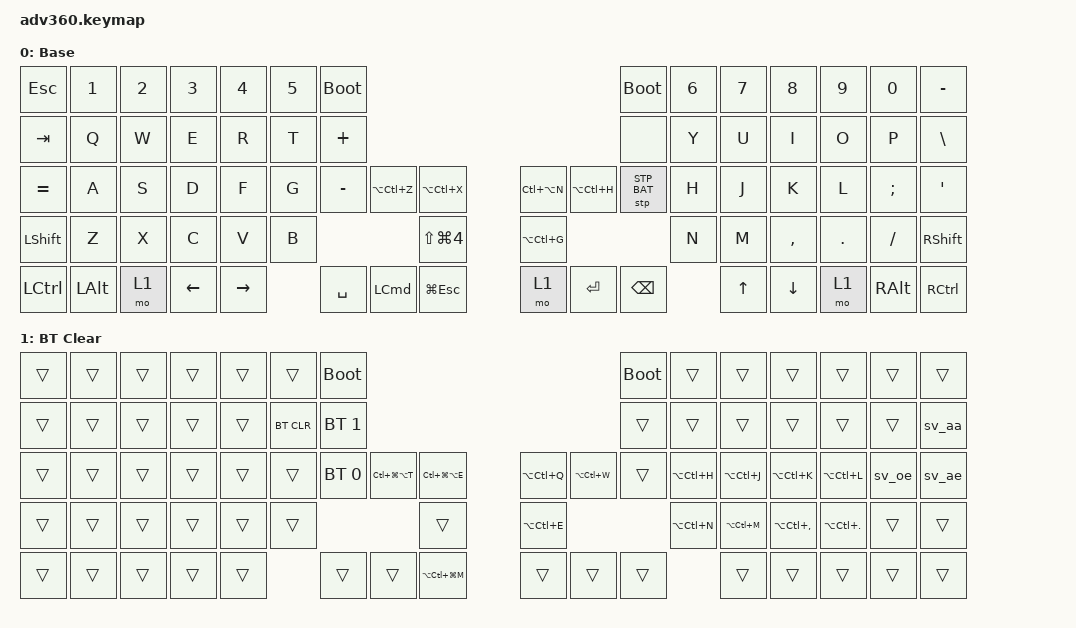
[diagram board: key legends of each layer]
#include <dt-bindings/zmk/stp.h>
#include <behaviors.dtsi>
#include <dt-bindings/zmk/bt.h>
#include <dt-bindings/zmk/keys.h>

/ {
    behaviors {
        #include "macros.dtsi"
      #include "version.dtsi"
    };

    macros {
        sv_aa: sv_aa {
            compatible = "zmk,behavior-macro";
            #binding-cells = <0>;
            bindings = <&kp LA(A)>;
            label = "SV_AA";
        };

        sv_ae: sv_ae {
            compatible = "zmk,behavior-macro";
            #binding-cells = <0>;
            bindings = <&kp LA(U) &kp A>;
            label = "SV_AE";
        };

        sv_oe: sv_oe {
            compatible = "zmk,behavior-macro";
            #binding-cells = <0>;
            bindings = <&kp LA(U) &kp O>;
            label = "SV_OE";
        };

        email: email {
            compatible = "zmk,behavior-macro";
            label = "EMAIL";
            #binding-cells = <0>;
            wait-ms = <0>;
            tap-ms = <0>;
            bindings =
                <&macro_tap_time 0>,
                <&macro_tap>,
                <&kp F>,
                <&macro_tap>,
                <&kp R>,
                <&macro_tap>,
                <&kp E>,
                <&macro_tap>,
                <&kp D>,
                <&macro_tap>,
                <&kp R>,
                <&macro_tap>,
                <&kp I>,
                <&macro_tap>,
                <&kp K>,
                <&macro_tap>,
                <&kp DOT>,
                <&macro_tap>,
                <&kp B>,
                <&macro_tap>,
                <&kp O>,
                <&macro_tap>,
                <&kp R>,
                <&macro_tap>,
                <&kp G>,
                <&macro_tap>,
                <&kp Q>,
                <&macro_tap>,
                <&kp U>,
                <&macro_tap>,
                <&kp I>,
                <&macro_tap>,
                <&kp S>,
                <&macro_tap>,
                <&kp T>,
                <&macro_tap>,
                <&kp AT>,
                <&macro_tap>,
                <&kp G>,
                <&macro_tap>,
                <&kp M>,
                <&macro_tap>,
                <&kp A>,
                <&macro_tap>,
                <&kp I>,
                <&macro_tap>,
                <&kp L>,
                <&macro_tap>,
                <&kp DOT>,
                <&macro_tap>,
                <&kp C>,
                <&macro_tap>,
                <&kp O>,
                <&macro_tap>,
                <&kp M>;
        };
    };

    keymap {
        compatible = "zmk,keymap";

        default_layer {
            display-name = "Base";
            bindings = <
&kp ESCAPE  &kp N1        &kp N2  &kp N3    &kp N4     &kp N5  &bootloader                                                                            &bootloader    &kp N6  &kp N7  &kp N8     &kp N9   &kp N0         &kp MINUS
&kp TAB     &kp Q         &kp W   &kp E     &kp R      &kp T   &kp PLUS                                                                               &none          &kp Y   &kp U   &kp I      &kp O    &kp P          &kp BSLH
&kp EQUAL   &kp A         &kp S   &kp D     &kp F      &kp G   &kp MINUS    &kp LA(LC(Z))     &kp LA(LC(X))             &kp LC(LA(N))  &kp LA(LC(H))  &stp STP_BAT   &kp H   &kp J   &kp K      &kp L    &kp SEMI       &kp SQT
&kp LSHFT   &kp Z         &kp X   &kp C     &kp V      &kp B                                  &kp LS(LG(NUMBER_4))      &kp LA(LC(G))                                &kp N   &kp M   &kp COMMA  &kp DOT  &kp FSLH       &kp RSHFT
&kp LCTRL   &kp LEFT_ALT  &mo 1   &kp LEFT  &kp RIGHT          &kp SPACE    &kp LEFT_COMMAND  &kp LG(ESCAPE)            &mo 1          &kp ENTER      &kp BACKSPACE          &kp UP  &kp DOWN   &mo 1    &kp RIGHT_ALT  &kp RCTRL
            >;
        };

        bt_clr_layer {
            display-name = "BT Clear";
            bindings = <
&trans  &trans  &trans  &trans  &trans  &trans      &bootloader                                                                           &bootloader  &trans         &trans         &trans             &trans              &trans  &trans
&trans  &trans  &trans  &trans  &trans  &bt BT_CLR  &bt BT_SEL 1                                                                          &trans       &trans         &trans         &trans             &trans              &trans  &sv_aa
&trans  &trans  &trans  &trans  &trans  &trans      &bt BT_SEL 0  &kp LC(LG(LA(T)))  &kp LC(LG(LA(E)))      &kp LA(LC(Q))  &kp LA(LC(W))  &trans       &kp LA(LC(H))  &kp LA(LC(J))  &kp LA(LC(K))      &kp LA(LC(L))       &sv_oe  &sv_ae
&trans  &trans  &trans  &trans  &trans  &trans                                       &trans                 &kp LA(LC(E))                              &kp LA(LC(N))  &kp LA(LC(M))  &kp LA(LC(COMMA))  &kp LA(LC(PERIOD))  &trans  &trans
&trans  &trans  &trans  &trans  &trans              &trans        &trans             &kp LA(LC(LG(M)))      &trans         &trans         &trans                      &trans         &trans             &trans              &trans  &trans
            >;
        };

        extra2 {
            display-name = "Purple";
            status = "reserved";
        };

        extra3 {
            display-name = "Cyan";
            status = "reserved";
        };

        extra4 {
            display-name = "Yellow";
            status = "reserved";
        };
    };
};
